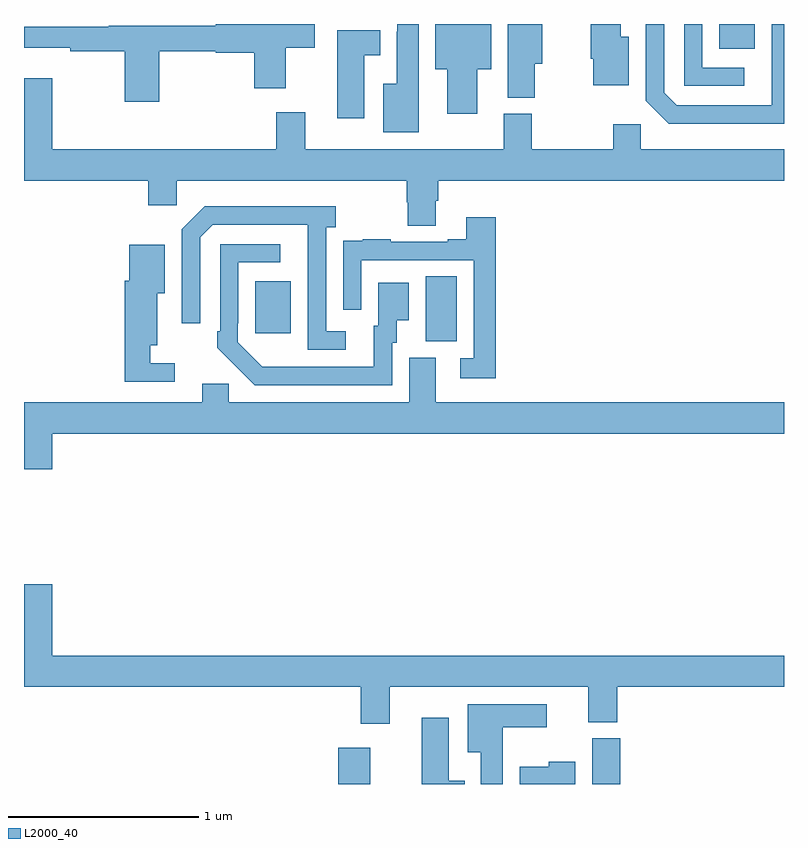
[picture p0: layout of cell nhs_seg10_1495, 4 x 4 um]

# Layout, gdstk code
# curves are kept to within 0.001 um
import gdstk
lib = gdstk.Library(unit=1e-6, precision=1e-09)
def R(c, l, rs):  # rectangles x0, y0, x1, y1
    for r in rs: c.add(gdstk.rectangle(r[:2], r[2:], *l))
def P(c, l, *ps):  # polygons
    for p in ps: c.add(gdstk.Polygon(p, *l))
L2000_40 = (2000, 40)

nhs_seg10_1495 = lib.new_cell('nhs_seg10_1495')
R(nhs_seg10_1495, L2000_40, [(190.655,1270.5,190.822,1270.69), (191.99,1270.5,192.137,1270.74), (191.114,1272.829,191.278,1273.172), (190.217,1272.873,190.405,1273.147), (192.659,1274.369,192.847,1274.5)])
P(nhs_seg10_1495, L2000_40, [(191.688,1274.291),(191.728,1274.291),(191.728,1274.5),(191.546,1274.5),(191.546,1274.113),(191.688,1274.113)],
  [(189.713,1274.356),(190.008,1274.356),(190.008,1274.348),(190.211,1274.348),(190.211,1274.163),(190.378,1274.163),(190.378,1274.374),(190.531,1274.374),(190.531,1274.5),(190.008,1274.5),(190.008,1274.492),(189.446,1274.492),(189.446,1274.485),(189,1274.485),(189,1274.375),(189.244,1274.375),(189.244,1274.356),(189.53,1274.356),(189.53,1274.091),(189.713,1274.091)],
  [(191.077,1274.5),(190.965,1274.5),(190.965,1274.459),(190.961,1274.459),(190.961,1274.185),(190.892,1274.185),(190.892,1273.931),(191.077,1273.931)],
  [(191.386,1274.261),(191.458,1274.261),(191.458,1274.5),(191.165,1274.5),(191.165,1274.261),(191.228,1274.261),(191.228,1274.028),(191.386,1274.028)],
  [(193,1274.5),(192.936,1274.5),(192.936,1274.273),(192.935,1274.273),(192.935,1274.073),(192.435,1274.073),(192.369,1274.139),(192.369,1274.5),(192.273,1274.5),(192.273,1274.097),(192.394,1273.976),(193,1273.976)],
  [(192.79,1274.271),(192.57,1274.271),(192.57,1274.5),(192.474,1274.5),(192.474,1274.175),(192.79,1274.175)],
  [(192.184,1274.434),(192.142,1274.434),(192.142,1274.5),(191.984,1274.5),(191.984,1274.316),(191.996,1274.316),(191.996,1274.177),(192.184,1274.177)],
  [(190.792,1274.336),(190.876,1274.336),(190.876,1274.467),(190.649,1274.467),(190.649,1274.004),(190.792,1274.004)],
  [(191.167,1273.57),(191.18,1273.57),(191.18,1273.676),(193,1273.676),(193,1273.84),(192.246,1273.84),(192.246,1273.972),(192.1,1273.972),(192.1,1273.84),(191.673,1273.84),(191.673,1274.028),(191.525,1274.028),(191.525,1273.84),(190.48,1273.84),(190.48,1274.035),(190.328,1274.035),(190.328,1273.84),(189.148,1273.84),(189.148,1274.215),(189,1274.215),(189,1273.676),(189.653,1273.676),(189.653,1273.545),(189.804,1273.545),(189.804,1273.676),(191.015,1273.676),(191.015,1273.563),(191.02,1273.563),(191.02,1273.438),(191.167,1273.438)],
  [(190.693,1272.882),(190.59,1272.882),(190.59,1273.43),(190.642,1273.43),(190.642,1273.54),(189.952,1273.54),(189.831,1273.419),(189.831,1272.924),(189.927,1272.924),(189.927,1273.377),(189.993,1273.443),(190.493,1273.443),(190.494,1272.786),(190.693,1272.786)],
  [(191.483,1273.483),(191.327,1273.483),(191.327,1273.366),(191.231,1273.366),(191.231,1273.353),(190.931,1273.353),(190.931,1273.366),(190.783,1273.366),(190.783,1273.359),(190.681,1273.359),(190.681,1273.25),(190.68,1273.25),(190.68,1272.996),(190.776,1272.996),(190.776,1273.257),(191.367,1273.257),(191.367,1272.741),(191.295,1272.741),(191.295,1272.636),(191.483,1272.636)],
  [(190.938,1272.822),(190.963,1272.822),(190.963,1272.941),(191.026,1272.941),(191.026,1273.138),(190.865,1273.138),(190.865,1272.912),(190.841,1272.912),(190.841,1272.696),(190.254,1272.697),(190.125,1272.825),(190.125,1272.925),(190.128,1272.925),(190.128,1273.245),(190.348,1273.245),(190.348,1273.341),(190.032,1273.341),(190.032,1272.883),(190.017,1272.883),(190.017,1272.795),(190.214,1272.6),(190.938,1272.6)],
  [(189.793,1272.714),(189.664,1272.714),(189.664,1272.809),(189.7,1272.809),(189.7,1273.082),(189.742,1273.082),(189.742,1273.339),(189.554,1273.339),(189.554,1273.149),(189.53,1273.149),(189.53,1272.618),(189.793,1272.618)],
  [(189.148,1272.344),(193,1272.344),(193,1272.508),(191.167,1272.508),(191.167,1272.744),(191.027,1272.744),(191.027,1272.508),(190.077,1272.508),(190.077,1272.606),(189.938,1272.606),(189.938,1272.508),(189,1272.508),(189,1272.156),(189.148,1272.156)],
  [(190.924,1271.012),(191.969,1271.012),(191.969,1270.825),(192.122,1270.825),(192.122,1271.012),(193,1271.012),(193,1271.176),(189.148,1271.176),(189.148,1271.551),(189,1271.551),(189,1271.012),(190.772,1271.012),(190.772,1270.818),(190.924,1270.818)],
  [(191.521,1270.799),(191.752,1270.799),(191.752,1270.921),(191.336,1270.921),(191.336,1270.667),(191.405,1270.667),(191.405,1270.5),(191.521,1270.5)],
  [(191.32,1270.516),(191.236,1270.516),(191.236,1270.849),(191.093,1270.849),(191.093,1270.5),(191.32,1270.5)],
  [(191.902,1270.618),(191.763,1270.618),(191.763,1270.591),(191.609,1270.591),(191.609,1270.5),(191.902,1270.5)])

lib.write_gds('nhs_seg10_1495.gds')
